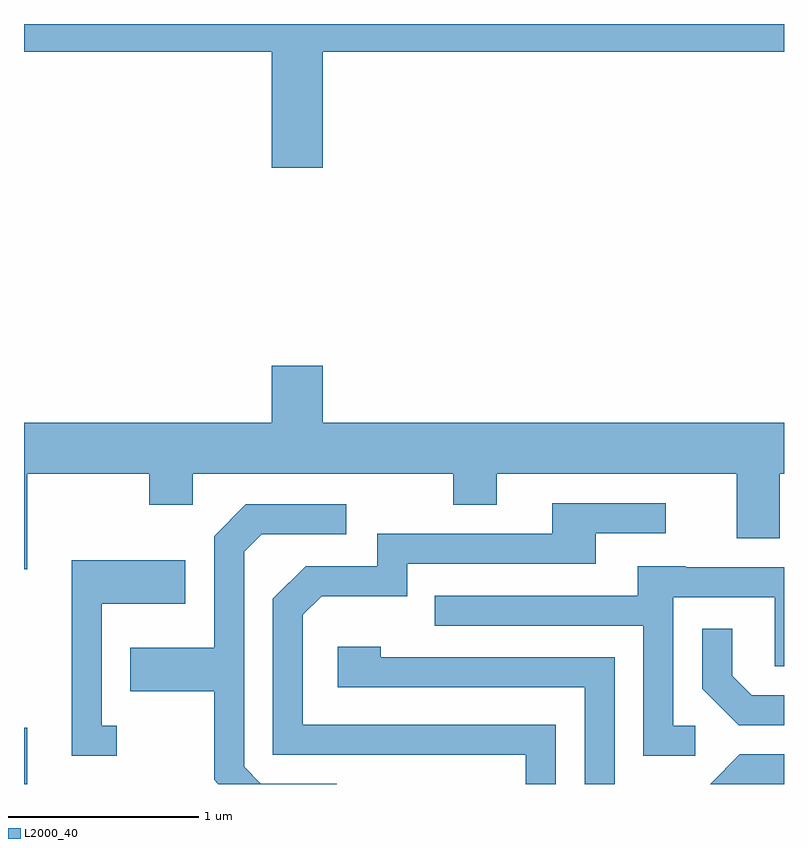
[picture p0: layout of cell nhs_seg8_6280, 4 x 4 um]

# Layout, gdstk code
import gdstk
lib = gdstk.Library(unit=1e-6, precision=1e-09)
def R(c, l, rs):  # rectangles x0, y0, x1, y1
    for r in rs: c.add(gdstk.rectangle(r[:2], r[2:], *l))
def P(c, l, *ps):  # polygons
    for p in ps: c.add(gdstk.Polygon(p, *l))
L2000_40 = (2000, 40)

nhs_seg8_6280 = lib.new_cell('nhs_seg8_6280')
R(nhs_seg8_6280, L2000_40, [(373.611,1830.342,373.629,1830.639)])
P(nhs_seg8_6280, L2000_40, [(375.184,1834.196),(377.611,1834.196),(377.611,1834.342),(373.611,1834.342),(373.611,1834.196),(374.916,1834.196),(374.916,1833.586),(375.184,1833.586)],
  [(373.629,1831.976),(374.271,1831.976),(374.271,1831.811),(374.499,1831.811),(374.499,1831.976),(375.871,1831.976),(375.871,1831.811),(376.099,1831.811),(376.099,1831.976),(377.361,1831.976),(377.361,1831.636),(377.589,1831.636),(377.589,1831.976),(377.611,1831.976),(377.611,1832.244),(375.184,1832.244),(375.184,1832.544),(374.916,1832.544),(374.916,1832.244),(373.611,1832.244),(373.611,1831.471),(373.629,1831.471)],
  [(376.409,1830.654),(375.079,1830.654),(375.079,1831.234),(375.177,1831.331),(375.629,1831.331),(375.629,1831.501),(376.619,1831.501),(376.619,1831.661),(376.988,1831.661),(376.988,1831.819),(376.391,1831.819),(376.391,1831.659),(375.471,1831.659),(375.471,1831.489),(375.094,1831.489),(374.921,1831.317),(374.921,1830.496),(376.251,1830.496),(376.251,1830.342),(376.409,1830.342)],
  [(375.258,1830.344),(374.857,1830.344),(374.769,1830.432),(374.769,1831.564),(374.862,1831.656),(375.308,1831.656),(375.308,1831.814),(374.779,1831.814),(374.611,1831.647),(374.611,1831.059),(374.171,1831.059),(374.171,1830.831),(374.611,1830.831),(374.611,1830.364),(374.633,1830.342),(375.258,1830.342)],
  [(374.098,1830.649),(374.019,1830.649),(374.019,1831.291),(374.459,1831.291),(374.459,1831.519),(373.861,1831.519),(373.861,1830.491),(374.098,1830.491)],
  [(377.143,1830.649),(377.029,1830.649),(377.029,1831.326),(377.561,1831.326),(377.561,1830.961),(377.611,1830.961),(377.611,1831.484),(377.095,1831.484),(377.095,1831.489),(376.841,1831.489),(376.841,1831.334),(375.773,1831.334),(375.773,1831.176),(376.871,1831.176),(376.871,1830.491),(377.143,1830.491)],
  [(377.611,1830.809),(377.442,1830.809),(377.339,1830.912),(377.339,1831.158),(377.181,1831.158),(377.181,1830.844),(377.374,1830.651),(377.611,1830.651)],
  [(376.719,1831.009),(375.489,1831.009),(375.489,1831.064),(375.261,1831.064),(375.261,1830.851),(376.561,1830.851),(376.561,1830.342),(376.719,1830.342)],
  [(377.611,1830.499),(377.379,1830.499),(377.222,1830.342),(377.611,1830.342)])

lib.write_gds('nhs_seg8_6280.gds')
